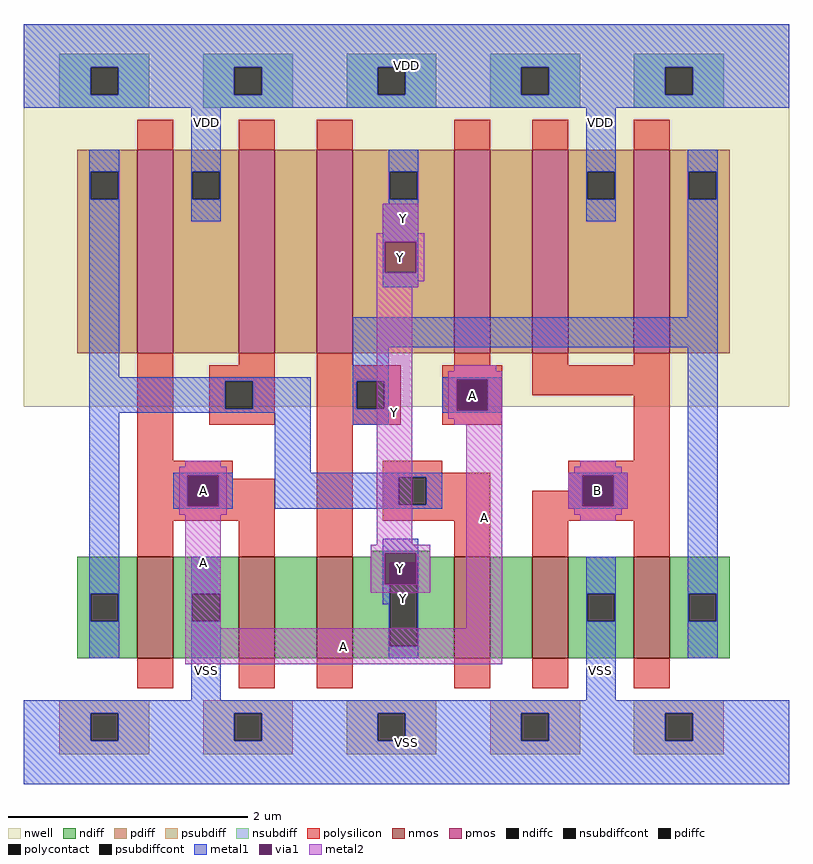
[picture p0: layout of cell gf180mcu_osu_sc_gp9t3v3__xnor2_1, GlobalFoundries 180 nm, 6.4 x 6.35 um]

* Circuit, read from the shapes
.subckt gf180mcu_osu_sc_gp9t3v3__xnor2_1 A B Y VDD VSS
XM1 VSS A n1 VSS nfet_03v3 w=0.85u l=0.3u
XM2 n2 A VSS VSS nfet_03v3 w=0.85u l=0.3u
XM3 Y n3 n2 VSS nfet_03v3 w=0.85u l=0.3u
XM4 n4 n1 Y VSS nfet_03v3 w=0.85u l=0.3u
XM5 VSS B n4 VSS nfet_03v3 w=0.85u l=0.3u
XM6 n3 B VSS VSS nfet_03v3 w=0.85u l=0.3u
XM7 VDD A n1 VDD pfet_03v3 w=1.7u l=0.3u
XM8 n5 n1 VDD VDD pfet_03v3 w=1.7u l=0.3u
XM9 Y n3 n5 VDD pfet_03v3 w=1.7u l=0.3u
XM10 n6 A Y VDD pfet_03v3 w=1.7u l=0.3u
XM11 VDD B n6 VDD pfet_03v3 w=1.7u l=0.3u
XM12 n3 B VDD VDD pfet_03v3 w=1.7u l=0.3u
.ends

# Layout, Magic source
magic
tech gf180mcuA
magscale 1 10
<< nwell >>
rect 0 630 1280 1270
<< nmos >>
rect 190 210 250 380
rect 360 210 420 380
rect 490 210 550 380
rect 720 210 780 380
rect 850 210 910 380
rect 1020 210 1080 380
<< pmos >>
rect 190 720 250 1060
rect 360 720 420 1060
rect 490 720 550 1060
rect 720 720 780 1060
rect 850 720 910 1060
rect 1020 720 1080 1060
<< ndiff >>
rect 580 380 680 390
rect 90 318 190 380
rect 90 272 112 318
rect 158 272 190 318
rect 90 210 190 272
rect 250 318 360 380
rect 250 272 282 318
rect 328 272 360 318
rect 250 210 360 272
rect 420 210 490 380
rect 550 370 720 380
rect 550 230 612 370
rect 658 230 720 370
rect 550 210 720 230
rect 780 210 850 380
rect 910 318 1020 380
rect 910 272 942 318
rect 988 272 1020 318
rect 910 210 1020 272
rect 1080 318 1180 380
rect 1080 272 1112 318
rect 1158 272 1180 318
rect 1080 210 1180 272
<< pdiff >>
rect 90 1023 190 1060
rect 90 977 112 1023
rect 158 977 190 1023
rect 90 720 190 977
rect 250 1023 360 1060
rect 250 977 282 1023
rect 328 977 360 1023
rect 250 720 360 977
rect 420 720 490 1060
rect 550 1023 720 1060
rect 550 977 612 1023
rect 658 977 720 1023
rect 550 720 720 977
rect 780 720 850 1060
rect 910 1023 1020 1060
rect 910 977 942 1023
rect 988 977 1020 1023
rect 910 720 1020 977
rect 1080 1023 1180 1060
rect 1080 977 1112 1023
rect 1158 977 1180 1023
rect 1080 720 1180 977
<< ndiffc >>
rect 112 272 158 318
rect 282 272 328 318
rect 612 230 658 370
rect 942 272 988 318
rect 1112 272 1158 318
<< pdiffc >>
rect 112 977 158 1023
rect 282 977 328 1023
rect 612 977 658 1023
rect 942 977 988 1023
rect 1112 977 1158 1023
<< psubdiff >>
rect 60 118 210 140
rect 60 72 112 118
rect 158 72 210 118
rect 60 50 210 72
rect 300 118 450 140
rect 300 72 352 118
rect 398 72 450 118
rect 300 50 450 72
rect 540 118 690 140
rect 540 72 592 118
rect 638 72 690 118
rect 540 50 690 72
rect 780 118 930 140
rect 780 72 832 118
rect 878 72 930 118
rect 780 50 930 72
rect 1020 118 1170 140
rect 1020 72 1072 118
rect 1118 72 1170 118
rect 1020 50 1170 72
<< nsubdiff >>
rect 60 1198 210 1220
rect 60 1152 112 1198
rect 158 1152 210 1198
rect 60 1130 210 1152
rect 300 1198 450 1220
rect 300 1152 352 1198
rect 398 1152 450 1198
rect 300 1130 450 1152
rect 540 1198 690 1220
rect 540 1152 592 1198
rect 638 1152 690 1198
rect 540 1130 690 1152
rect 780 1198 930 1220
rect 780 1152 832 1198
rect 878 1152 930 1198
rect 780 1130 930 1152
rect 1020 1198 1170 1220
rect 1020 1152 1072 1198
rect 1118 1152 1170 1198
rect 1020 1130 1170 1152
<< psubdiffcont >>
rect 112 72 158 118
rect 352 72 398 118
rect 592 72 638 118
rect 832 72 878 118
rect 1072 72 1118 118
<< nsubdiffcont >>
rect 112 1152 158 1198
rect 352 1152 398 1198
rect 592 1152 638 1198
rect 832 1152 878 1198
rect 1072 1152 1118 1198
<< polysilicon >>
rect 190 1060 250 1110
rect 360 1060 420 1110
rect 490 1060 550 1110
rect 720 1060 780 1110
rect 850 1060 910 1110
rect 1020 1060 1080 1110
rect 190 540 250 720
rect 360 700 420 720
rect 310 673 420 700
rect 310 627 337 673
rect 383 627 420 673
rect 310 600 420 627
rect 490 700 550 720
rect 720 700 780 720
rect 850 700 910 720
rect 1020 700 1080 720
rect 490 673 630 700
rect 490 627 557 673
rect 603 627 630 673
rect 490 600 630 627
rect 700 673 800 700
rect 700 627 727 673
rect 773 627 800 673
rect 850 650 1080 700
rect 700 600 800 627
rect 190 513 350 540
rect 190 467 277 513
rect 323 510 350 513
rect 323 467 420 510
rect 190 440 420 467
rect 190 380 250 440
rect 360 380 420 440
rect 490 380 550 600
rect 1020 540 1080 650
rect 600 520 700 540
rect 600 513 780 520
rect 600 467 627 513
rect 673 467 780 513
rect 910 513 1080 540
rect 910 490 937 513
rect 600 440 780 467
rect 720 380 780 440
rect 850 467 937 490
rect 983 467 1080 513
rect 850 440 1080 467
rect 850 380 910 440
rect 1020 380 1080 440
rect 190 160 250 210
rect 360 160 420 210
rect 490 160 550 210
rect 720 160 780 210
rect 850 160 910 210
rect 1020 160 1080 210
<< polycontact >>
rect 337 627 383 673
rect 557 627 603 673
rect 727 627 773 673
rect 277 467 323 513
rect 627 467 673 513
rect 937 467 983 513
<< metal1 >>
rect 0 1198 1280 1270
rect 0 1152 112 1198
rect 158 1152 352 1198
rect 398 1152 592 1198
rect 638 1152 832 1198
rect 878 1152 1072 1198
rect 1118 1152 1280 1198
rect 0 1130 1280 1152
rect 110 1023 160 1060
rect 110 977 112 1023
rect 158 977 160 1023
rect 110 680 160 977
rect 280 1023 330 1130
rect 280 977 282 1023
rect 328 977 330 1023
rect 280 940 330 977
rect 610 1023 660 1060
rect 610 977 612 1023
rect 658 977 660 1023
rect 610 970 660 977
rect 600 906 660 970
rect 940 1023 990 1130
rect 940 977 942 1023
rect 988 977 990 1023
rect 940 940 990 977
rect 1110 1023 1160 1060
rect 1110 977 1112 1023
rect 1158 977 1160 1023
rect 600 854 604 906
rect 656 854 660 906
rect 600 830 660 854
rect 1110 780 1160 977
rect 550 730 1160 780
rect 110 673 480 680
rect 110 627 337 673
rect 383 627 480 673
rect 110 620 480 627
rect 110 318 160 620
rect 420 520 480 620
rect 550 673 610 730
rect 550 627 557 673
rect 603 627 610 673
rect 550 600 610 627
rect 700 676 800 680
rect 700 624 724 676
rect 776 624 800 676
rect 700 620 800 624
rect 250 516 350 520
rect 250 464 274 516
rect 326 464 350 516
rect 250 460 350 464
rect 420 513 700 520
rect 420 467 627 513
rect 673 467 700 513
rect 420 460 700 467
rect 910 516 1010 520
rect 910 464 934 516
rect 986 464 1010 516
rect 910 460 1010 464
rect 600 386 660 410
rect 110 272 112 318
rect 158 272 160 318
rect 110 210 160 272
rect 280 318 330 380
rect 280 272 282 318
rect 328 272 330 318
rect 600 334 604 386
rect 656 370 660 386
rect 600 300 612 334
rect 280 140 330 272
rect 610 230 612 300
rect 658 230 660 370
rect 610 210 660 230
rect 940 318 990 380
rect 940 272 942 318
rect 988 272 990 318
rect 940 140 990 272
rect 1110 318 1160 730
rect 1110 272 1112 318
rect 1158 272 1160 318
rect 1110 210 1160 272
rect 0 118 1280 140
rect 0 72 112 118
rect 158 72 352 118
rect 398 72 592 118
rect 638 72 832 118
rect 878 72 1072 118
rect 1118 72 1280 118
rect 0 0 1280 72
<< via1 >>
rect 604 854 656 906
rect 724 673 776 676
rect 724 627 727 673
rect 727 627 773 673
rect 773 627 776 673
rect 724 624 776 627
rect 274 513 326 516
rect 274 467 277 513
rect 277 467 323 513
rect 323 467 326 513
rect 274 464 326 467
rect 934 513 986 516
rect 934 467 937 513
rect 937 467 983 513
rect 983 467 986 513
rect 934 464 986 467
rect 604 370 656 386
rect 604 334 612 370
rect 612 334 656 370
<< metal2 >>
rect 600 920 660 970
rect 590 906 670 920
rect 590 854 604 906
rect 656 854 670 906
rect 590 840 670 854
rect 590 830 660 840
rect 270 530 330 540
rect 260 516 340 530
rect 260 464 274 516
rect 326 464 340 516
rect 260 450 340 464
rect 270 260 330 450
rect 590 400 650 830
rect 720 690 790 700
rect 710 676 800 690
rect 710 624 724 676
rect 776 624 800 676
rect 710 610 800 624
rect 720 600 800 610
rect 580 386 680 400
rect 580 334 604 386
rect 656 334 680 386
rect 580 320 680 334
rect 740 260 800 600
rect 930 530 990 540
rect 920 520 1000 530
rect 910 516 1010 520
rect 910 464 934 516
rect 986 464 1010 516
rect 910 460 1010 464
rect 920 450 1000 460
rect 930 440 990 450
rect 270 200 800 260
<< labels >>
rlabel via1 s 724 624 776 676 4 A
port 1 nsew signal input
rlabel via1 s 934 464 986 516 4 B
port 2 nsew signal input
rlabel via1 s 604 334 656 386 4 Y
port 3 nsew signal output
rlabel metal1 s 280 940 330 1270 4 VDD
port 4 nsew power bidirectional abutment
rlabel metal1 s 280 0 330 380 4 VSS
port 5 nsew ground bidirectional abutment
rlabel metal1 s 940 940 990 1270 1 VDD
port 4 nsew power bidirectional abutment
rlabel metal1 s 0 1130 1280 1270 1 VDD
port 4 nsew power bidirectional abutment
rlabel metal1 s 940 0 990 380 1 VSS
port 5 nsew ground bidirectional abutment
rlabel metal1 s 0 0 1280 140 1 VSS
port 5 nsew ground bidirectional abutment
rlabel via1 s 274 464 326 516 1 A
port 1 nsew signal input
rlabel metal2 s 270 200 330 540 1 A
port 1 nsew signal input
rlabel metal2 s 260 450 340 530 1 A
port 1 nsew signal input
rlabel metal2 s 270 200 800 260 1 A
port 1 nsew signal input
rlabel metal2 s 720 600 790 700 1 A
port 1 nsew signal input
rlabel metal2 s 740 200 800 690 1 A
port 1 nsew signal input
rlabel metal2 s 710 610 800 690 1 A
port 1 nsew signal input
rlabel metal1 s 250 460 350 520 1 A
port 1 nsew signal input
rlabel metal1 s 700 620 800 680 1 A
port 1 nsew signal input
rlabel metal2 s 930 440 990 540 1 B
port 2 nsew signal input
rlabel metal2 s 920 450 1000 530 1 B
port 2 nsew signal input
rlabel metal2 s 910 460 1010 520 1 B
port 2 nsew signal input
rlabel metal1 s 910 460 1010 520 1 B
port 2 nsew signal input
rlabel via1 s 604 854 656 906 1 Y
port 3 nsew signal output
rlabel metal2 s 590 320 650 920 1 Y
port 3 nsew signal output
rlabel metal2 s 600 830 660 970 1 Y
port 3 nsew signal output
rlabel metal2 s 590 840 670 920 1 Y
port 3 nsew signal output
rlabel metal2 s 580 320 680 400 1 Y
port 3 nsew signal output
rlabel metal1 s 600 830 660 970 1 Y
port 3 nsew signal output
rlabel metal1 s 610 830 660 1060 1 Y
port 3 nsew signal output
rlabel metal1 s 610 210 660 410 1 Y
port 3 nsew signal output
rlabel metal1 s 600 300 660 410 1 Y
port 3 nsew signal output
<< properties >>
string FIXED_BBOX 0 0 1280 1270
string GDS_END 387188
string GDS_FILE $PDKPATH/libs.ref/gf180mcu_osu_sc_gp9t3v3/gds/gf180mcu_osu_sc_gp9t3v3.gds
string GDS_START 378990
string LEFclass CORE
string LEFsite gf180mcu_osu_sc_gp9t3v3
string LEFsymmetry X Y
<< end >>
